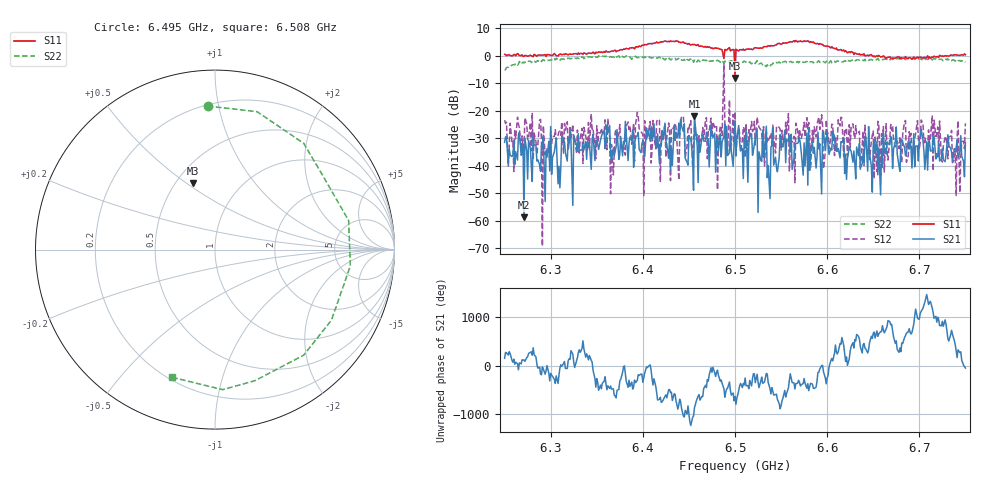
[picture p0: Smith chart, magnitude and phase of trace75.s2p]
# Hz S RI R 50
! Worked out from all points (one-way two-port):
!   401 points, 6.25 GHz to 6.75 GHz, reference 50 ohm
!   highest |S21| = -22.10 dB at 6.456 GHz (marker M1); lowest = -58.8 dB at 6.271 GHz (marker M2)
!   lowest |S11| = -8.1 dB at 6.5 GHz (marker M3), VSWR 2.29, Z = 30.3 + j26.5 ohm
!   |S11| at or under -10 dB: nowhere
!   |S22| runs from -5.4 to -0.1 dB; largest |S21 - S12| = 0.72
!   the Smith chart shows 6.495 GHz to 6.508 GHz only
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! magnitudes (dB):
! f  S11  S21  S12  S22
! 6.25 GHz  0.4  -31.6  -23.5  -5.4
! 6.271 GHz  -0.3  -58.8  -33.7  -2.7
! 6.288 GHz  0.2  -39.8  -23.5  -2.1
! 6.294 GHz  0.4  -53.1  -36.0  -1.9
! 6.302 GHz  0.1  -37.0  -29.5  -1.9
! 6.334 GHz  0.7  -34.4  -26.5  -0.6
! 6.358 GHz  1.5  -27.3  -28.5  -0.2
! 6.366 GHz  1.6  -38.5  -32.4  -0.5
! 6.372 GHz  1.7  -26.9  -30.2  -0.6
! 6.418 GHz  4.7  -39.1  -23.5  -0.5
! 6.43 GHz  5.4  -42.1  -45.5  -1.6
! 6.441 GHz  4.7  -23.3  -24.0  -1.7
! 6.456 GHz  4.1  -22.1  -26.1  -1.6
! 6.484 GHz  2.3  -28.4  -25.5  -2.4
! 6.486 GHz  2.1  -31.3  -29.2  -1.9
! 6.5 GHz  -8.1  -23.8  -20.5  -2.4
! 6.584 GHz  4.8  -31.7  -27.2  -2.3
! 6.658 GHz  -0.5  -50.7  -43.7  -1.7
! 6.668 GHz  -0.5  -32.4  -29.8  -1.5
! 6.72 GHz  -0.4  -36.9  -26.0  -1.5
! 6.739 GHz  0.2  -35.1  -35.6  -2.0
! 6.75 GHz  0.3  -31.6  -24.7  -2.4
